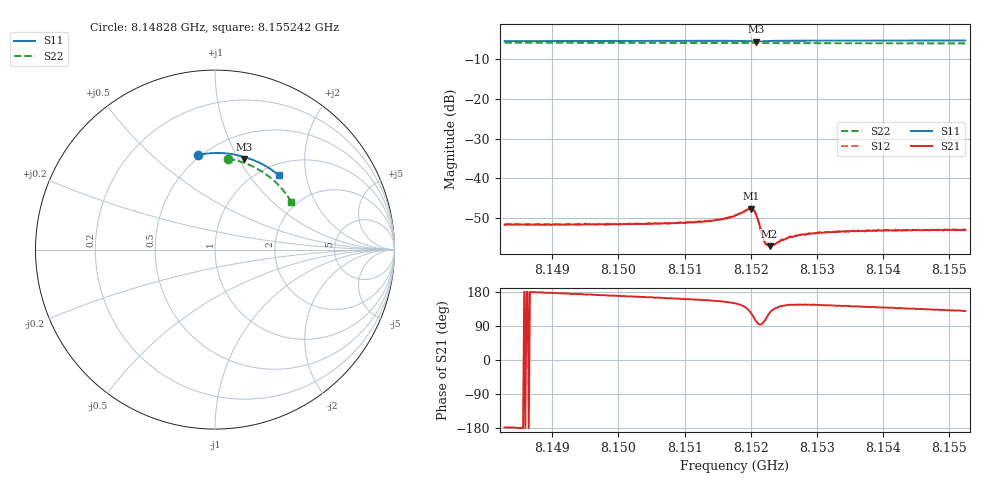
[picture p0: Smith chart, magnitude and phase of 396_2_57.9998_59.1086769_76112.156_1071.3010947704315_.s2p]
#  HZ  S  RI  R  50.00
! Rohde & Schwarz Vector Network Analyzer
! Rohde-Schwarz,ZNB20-2Port,1311601062101988,3.16
! Created: UTC 3/21/2024, 1:08:02 AM
! freq[Hz]  re:S11  im:S11  re:S21  im:S21  re:S12  im:S12  re:S22  im:S22
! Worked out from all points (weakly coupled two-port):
!   401 points, 8.14828 GHz to 8.155242 GHz, reference 50 ohm
!   highest |S21| = -47.60 dB at 8.152004 GHz (marker M1); lowest = -57.1 dB at 8.152283 GHz (marker M2)
!   lowest |S11| = -5.5 dB at 8.152074 GHz (marker M3), VSWR 3.24, Z = 37.8 + j52.7 ohm
!   |S11| at or under -10 dB: nowhere
!   |S22| runs from -6.0 to -5.8 dB; largest |S21 - S12| = 0.00014
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8.1482798e9  -0.0929 0.5276  -0.0026 -0.000104  -0.00265 -7.69e-05  0.0719 0.5068
8.1494459e9  -0.0124 0.5377  -0.00261 0.000283  -0.00261 0.000367  0.1453 0.4892
8.150612e9  0.0688 0.5353  -0.0026 0.000729  -0.00261 0.000758  0.2149 0.4613
8.1513778e9  0.1222 0.5267  -0.00268 0.00113  -0.00267 0.00118  0.2577 0.4375
8.1515693e9  0.1359 0.5233  -0.00278 0.00133  -0.00275 0.00139  0.2681 0.4308
8.1517607e9  0.1498 0.5189  -0.00294 0.00171  -0.0029 0.00175  0.2782 0.424
8.1519522e9  0.1633 0.5099  -0.00282 0.00292  -0.0028 0.00296  0.2879 0.4166
8.1520044e9  0.1649 0.5058  -0.0023 0.00348  -0.00228 0.00354  0.2904 0.4145
8.1520392e9  0.1644 0.5036  -0.00163 0.00366  -0.00159 0.00373  0.2922 0.4133
8.152074e9  0.1629 0.5031  -0.000836 0.0035  -0.000851 0.00355  0.2937 0.4119
8.1521088e9  0.1621 0.5045  -0.00031 0.00296  -0.000273 0.00302  0.2955 0.4108
8.1521959e9  0.1665 0.509  -0.000312 0.00164  -0.000292 0.00169  0.2999 0.4077
8.1522307e9  0.1695 0.5097  -0.000488 0.00139  -0.000474 0.00138  0.3017 0.4063
8.1522829e9  0.1739 0.5099  -0.000777 0.00117  -0.00075 0.00121  0.3043 0.4045
8.1523351e9  0.1785 0.5096  -0.000976 0.00106  -0.00101 0.00111  0.3071 0.4023
8.1524395e9  0.1865 0.5081  -0.00127 0.00102  -0.00124 0.00102  0.3121 0.3981
8.1526136e9  0.1991 0.5041  -0.00153 0.00103  -0.00149 0.00105  0.3207 0.3911
8.1527528e9  0.2087 0.5008  -0.00162 0.00109  -0.00162 0.0011  0.3273 0.3852
8.1529269e9  0.2202 0.4963  -0.00168 0.00115  -0.00165 0.00115  0.3354 0.3777
8.153536e9  0.259 0.4785  -0.00171 0.00135  -0.00172 0.00139  0.3625 0.3505
8.154093e9  0.2926 0.4596  -0.00164 0.0015  -0.00164 0.00149  0.3853 0.3239
8.1552417e9  0.357 0.4138  -0.00143 0.00173  -0.00143 0.00177  0.4257 0.2646
